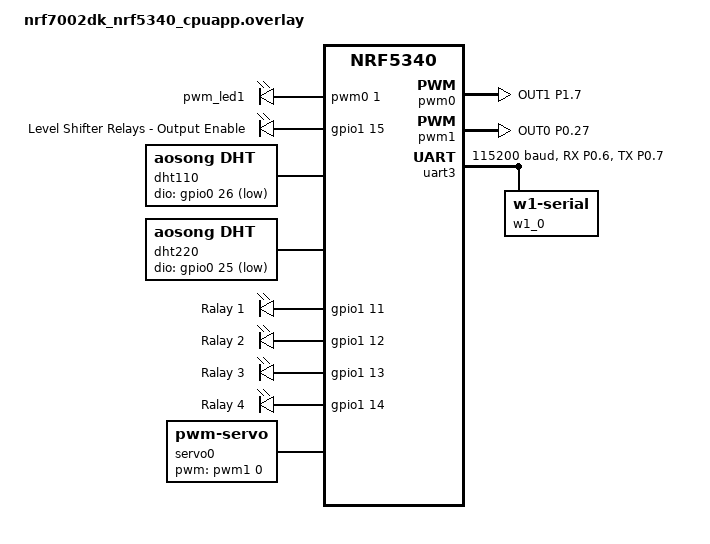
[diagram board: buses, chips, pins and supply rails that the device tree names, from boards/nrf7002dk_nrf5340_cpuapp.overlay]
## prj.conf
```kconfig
# nothing here
#CONFIG_NO_OPTIMIZATIONS=y # https://developer.nordicsemi.com/nRF_Connect_SDK/doc/latest/kconfig/index.html#CONFIG_COMPILER_OPTIMIZATIONS
CONFIG_PRINTK=y
CONFIG_GPIO=y
CONFIG_PWM=y
CONFIG_SENSOR=y
CONFIG_W1=y
```

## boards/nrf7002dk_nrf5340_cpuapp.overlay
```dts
/*
 *    Copyright (c) 2022 Project CHIP Authors
 *
 *    Licensed under the Apache License, Version 2.0 (the "License");
 *    you may not use this file except in compliance with the License.
 *    You may obtain a copy of the License at
 *
 *        http://www.apache.org/licenses/LICENSE-2.0
 *
 *    Unless required by applicable law or agreed to in writing, software
 *    distributed under the License is distributed on an "AS IS" BASIS,
 *    WITHOUT WARRANTIES OR CONDITIONS OF ANY KIND, either express or implied.
 *    See the License for the specific language governing permissions and
 *    limitations under the License.
 */

 / {
	chosen {
		nordic,pm-ext-flash = &mx25r64;
	};

	aliases {
		pwm-led1 = &pwm_led1;
		level-shifter1 = &level_shifter1;
		relay1 = &relay_1;
		relay2 = &relay_2;
		relay3 = &relay_3;
		relay4 = &relay_4;
		dht11 = &dht110;
		dht22 = &dht220;
		ds18b20 = &ds18b200;
		servo = &servo0;
	};

	/*
	* By default, PWM module is only configured for led0 (LED1 on the board).
	* The light bulb app, however, uses LED2 to show the state of the lighting,
	* including its brightness level.
	*/
	pwmleds {
		compatible = "pwm-leds";
		pwm_led1: pwm_led_1 {
			pwms = <&pwm0 1 PWM_MSEC(20) PWM_POLARITY_NORMAL>;
		};
	};

	level_shifters {
		compatible = "gpio-leds";
		level_shifter1: level_shifter_1 {
			status = "okay";
			gpios = <&gpio1 15 GPIO_ACTIVE_HIGH>;
			label = "Level Shifter Relays - Output Enable";
		};
	};

	dht110: dht11_0 {
		compatible = "aosong,dht";
		status = "okay";
		dio-gpios = <&gpio0 26 (GPIO_OPEN_DRAIN | GPIO_PULL_UP | GPIO_ACTIVE_LOW)>;
	};

	dht220: dht22_0 {
		compatible = "aosong,dht";
		status = "okay";
		dio-gpios = <&gpio0 25 (GPIO_OPEN_DRAIN | GPIO_PULL_UP | GPIO_ACTIVE_LOW)>;
		dht22;
	};

	relays {
	compatible = "gpio-leds";
		relay_1: relay_01 {
			status = "okay";
			gpios = <&gpio1 11 GPIO_ACTIVE_HIGH>;
			label = "Ralay 1";
		};
		relay_2: relay_02 {
			status = "okay";
			gpios = <&gpio1 12 GPIO_ACTIVE_HIGH>;
			label = "Ralay 2";
		};
		relay_3: relay_03 {
			status = "okay";
			gpios = <&gpio1 13 GPIO_ACTIVE_HIGH>;
			label = "Ralay 3";
		};
		relay_4: relay_04 {
			status = "okay";
			gpios = <&gpio1 14 GPIO_ACTIVE_HIGH>;
			label = "Ralay 4";
		};
	};

	servo0: servo_0 {
		compatible = "pwm-servo";
		pwms = <&pwm1 0 PWM_MSEC(20) PWM_POLARITY_NORMAL>;
		min-pulse = <PWM_USEC(1000)>;
		max-pulse = <PWM_USEC(1390)>;
	};
};

&pwm0 {
	pinctrl-0 = <&pwm0_default_alt>;
	pinctrl-1 = <&pwm0_sleep_alt>;
	pinctrl-names = "default", "sleep";
};

&pwm1 {
	status = "okay";
	pinctrl-0 = <&pwm1_default_alt>;
	pinctrl-1 = <&pwm1_sleep_alt>;
	pinctrl-names = "default", "sleep";
};

&uart3 {
	status = "okay";
	current-speed = <115200>;
	pinctrl-0 = <&uart3_default_alt>;
	pinctrl-1 = <&uart3_sleep_alt>;
	pinctrl-names = "default", "sleep";
	w1_0: w1-zephyr-serial-0 {
		compatible = "zephyr,w1-serial";
		status = "okay";
		ds18b200: ds18b20_0 {
			compatible = "maxim,ds18b20";
			family-code = <0x28>;
			resolution = <12>;
			status = "okay";
		};
	};
};

&pinctrl {
	pwm0_default_alt: pwm0_default_alt {
		group1 {
			psels = <NRF_PSEL(PWM_OUT1, 1, 7)>;
			nordic,invert;
		};
	};

	pwm0_sleep_alt: pwm0_sleep_alt {
		group1 {
			psels = <NRF_PSEL(PWM_OUT1, 1, 7)>;
			low-power-enable;
		};
	};

	pwm1_default_alt: pwm1_default_alt {
		group1 {
			psels = <NRF_PSEL(PWM_OUT0, 0, 27)>;
		};
	};

	pwm1_sleep_alt: pwm1_sleep_alt {
		group1 {
			psels = <NRF_PSEL(PWM_OUT0, 0, 27)>;
			low-power-enable;
		};
	};

	uart3_default_alt: uart3_default_alt {
		group1 {
			psels = <NRF_PSEL(UART_RX, 0, 6)>;
			bias-pull-up;
		};
		group2 {
			psels = <NRF_PSEL(UART_TX, 0, 7)>;
			nordic,drive-mode = <NRF_DRIVE_H0D1>;
		};
	};

	uart3_sleep_alt: uart3_sleep_alt {
		group1 {
			psels = <NRF_PSEL(UART_RX, 0, 6)>;
			low-power-enable;
		};
		group2 {
			psels = <NRF_PSEL(UART_TX, 0, 7)>;
			low-power-enable;
		};
	};
};
```

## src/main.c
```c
/*
 * Copyright (c) 2012-2014 Wind River Systems, Inc.
 *
 * SPDX-License-Identifier: Apache-2.0
 */

#include <zephyr/kernel.h>
#include <zephyr/sys/printk.h>
#include <zephyr/device.h>
#include <zephyr/devicetree.h>
#include <zephyr/drivers/gpio.h>
#include <zephyr/drivers/pwm.h>
#include <zephyr/drivers/sensor.h>
#include <stdio.h>

static const struct gpio_dt_spec level_shifter1 = GPIO_DT_SPEC_GET(DT_ALIAS(level_shifter1), gpios);

static const struct gpio_dt_spec relay1 = GPIO_DT_SPEC_GET(DT_ALIAS(relay1), gpios);
static const struct gpio_dt_spec relay2 = GPIO_DT_SPEC_GET(DT_ALIAS(relay2), gpios);
static const struct gpio_dt_spec relay3 = GPIO_DT_SPEC_GET(DT_ALIAS(relay3), gpios);
static const struct gpio_dt_spec relay4 = GPIO_DT_SPEC_GET(DT_ALIAS(relay4), gpios);

static const struct device *const dht11 = DEVICE_DT_GET(DT_ALIAS(dht11));
static const struct device *const dht22 = DEVICE_DT_GET(DT_ALIAS(dht22));
static const struct device *const ds18b20 = DEVICE_DT_GET(DT_ALIAS(ds18b20));

static const struct pwm_dt_spec servo = PWM_DT_SPEC_GET(DT_ALIAS(servo));
static const uint32_t min_pulse = DT_PROP(DT_ALIAS(servo), min_pulse);
static const uint32_t max_pulse = DT_PROP(DT_ALIAS(servo), max_pulse);

volatile uint32_t pulse_width;

int main(void)
{
	int ret;
	struct sensor_value dht11_temperature;
	struct sensor_value dht11_humidity;
	struct sensor_value dht22_temperature;
	struct sensor_value dht22_humidity;
	struct sensor_value ds18b20_temperature;

	pulse_width = (uint32_t)((max_pulse + min_pulse) / 2);
	printk("Pulse Width: %d\n", pulse_width);

    	///////////////////////////////////////////////////////////////////////////
	// VERIFY IF THE GPIO ATTACHED TO THE OE OF THE LEVEL SHIFTER IS READY
	ret = gpio_is_ready_dt(&level_shifter1);
	if (ret == 0) {
		printk("Error: level_shifter1 is not ready\n");
		return 0;
	}
	// CONFIGURE THE GPIO ATTACHED TO THE OE OF THE LEVEL SHIFTER AS A GPIO OUT 
  	// AND SET IT TO ACTIVE STATE
	ret = gpio_pin_configure_dt(&level_shifter1, GPIO_OUTPUT_ACTIVE);
	if (ret != 0) {
		printk("Error %d: failed to configure level shifter 1\n", ret);
		return 0;
	}
  	// SET THE GPIO ATTACHED TO THE OE OF THE LEVEL SHIFTER TO LOGIC LEVEL '1'
  	// (FOR DEBUG PURPOSES)
  	ret = gpio_pin_set_dt(&level_shifter1, 1);
	if (ret != 0) {
		printk("Error %d: failed to set level shifter 1 at logic level 1\n", ret);
		return 0;
	}


    	///////////////////////////////////////////////////////////////////////////
	// VERIFY IF THE GPIO ATTACHED TO THE RELAY IS READY
	ret = gpio_is_ready_dt(&relay1);
	if (ret == 0) {
		printk("Error: relay1 is not ready\n");
		return 0;
	}
	// CONFIGURE THE GPIO ATTACHED TO THE OE OF THE RELAY AS A GPIO OUT 
  	// AND SET IT TO ACTIVE STATE
	ret = gpio_pin_configure_dt(&relay1, GPIO_OUTPUT_HIGH);
	if (ret != 0) {
		printk("Error %d: failed to configure relay 1\n", ret);
		return 0;
	}

	// VERIFY IF THE GPIO ATTACHED TO THE RELAY IS READY
	ret = gpio_is_ready_dt(&relay2);
	if (ret == 0) {
		printk("Error: relay2 is not ready\n");
		return 0;
	}
	// CONFIGURE THE GPIO ATTACHED TO THE OE OF THE RELAY AS A GPIO OUT 
  	// AND SET IT TO ACTIVE STATE
	ret = gpio_pin_configure_dt(&relay2, GPIO_OUTPUT_HIGH);
	if (ret != 0) {
		printk("Error %d: failed to configure relay 2\n", ret);
		return 0;
	}

    	// VERIFY IF THE GPIO ATTACHED TO THE RELAY IS READY
	ret = gpio_is_ready_dt(&relay3);
	if (ret == 0) {
		printk("Error: relay3 is not ready\n");
		return 0;
	}
	// CONFIGURE THE GPIO ATTACHED TO THE OE OF THE RELAY AS A GPIO OUT 
  	// AND SET IT TO ACTIVE STATE
	ret = gpio_pin_configure_dt(&relay3, GPIO_OUTPUT_HIGH);
	if (ret != 0) {
		printk("Error %d: failed to configure relay 3\n", ret);
		return 0;
	}

	// VERIFY IF THE GPIO ATTACHED TO THE RELAY IS READY
	ret = gpio_is_ready_dt(&relay4);
	if (ret == 0) {
		printk("Error: relay4 is not ready\n");
		return 0;
	}
	// CONFIGURE THE GPIO ATTACHED TO THE OE OF THE RELAY AS A GPIO OUT 
  	// AND SET IT TO ACTIVE STATE
	ret = gpio_pin_configure_dt(&relay4, GPIO_OUTPUT_HIGH);
	if (ret != 0) {
		printk("Error %d: failed to configure relay 4\n", ret);
		return 0;
	}


  	// SET THE GPIO ATTACHED TO THE OE OF THE RELAY TO LOGIC LEVEL '1'
  	// (FOR DEBUG PURPOSES)
  	ret = gpio_pin_set_dt(&relay1, 0); // ON
	if (ret != 0) {
		printk("Error %d: failed to set relay 1 at logic level 1\n", ret);
		return 0;
	}
	k_sleep(K_MSEC(500));
	// SET THE GPIO ATTACHED TO THE OE OF THE RELAY TO LOGIC LEVEL '0'
  	// (FOR DEBUG PURPOSES)
  	ret = gpio_pin_set_dt(&relay1, 1); // OFF
	if (ret != 0) {
		printk("Error %d: failed to set relay 1 at logic level 0\n", ret);
		return 0;
	}

  	// SET THE GPIO ATTACHED TO THE OE OF THE RELAY TO LOGIC LEVEL '1'
  	// (FOR DEBUG PURPOSES)
  	ret = gpio_pin_set_dt(&relay2, 0); // ON
	if (ret != 0) {
		printk("Error %d: failed to set relay 2 at logic level 1\n", ret);
		return 0;
	}
	k_sleep(K_MSEC(500));
	// SET THE GPIO ATTACHED TO THE OE OF THE RELAY TO LOGIC LEVEL '0'
  	// (FOR DEBUG PURPOSES)
  	ret = gpio_pin_set_dt(&relay2, 1); // OFF
	if (ret != 0) {
		printk("Error %d: failed to set relay 2 at logic level 0\n", ret);
		return 0;
	}

  	// SET THE GPIO ATTACHED TO THE OE OF THE RELAY TO LOGIC LEVEL '1'
  	// (FOR DEBUG PURPOSES)
  	ret = gpio_pin_set_dt(&relay3, 0); // ON
	if (ret != 0) {
		printk("Error %d: failed to set relay 3 at logic level 1\n", ret);
		return 0;
	}
	k_sleep(K_MSEC(500));
	// SET THE GPIO ATTACHED TO THE OE OF THE RELAY TO LOGIC LEVEL '0'
  	// (FOR DEBUG PURPOSES)
  	ret = gpio_pin_set_dt(&relay3, 1); // OFF
	if (ret != 0) {
		printk("Error %d: failed to set relay 3 at logic level 0\n", ret);
		return 0;
	}

  	// SET THE GPIO ATTACHED TO THE OE OF THE RELAY TO LOGIC LEVEL '1'
  	// (FOR DEBUG PURPOSES)
  	ret = gpio_pin_set_dt(&relay4, 0); // ON
	if (ret != 0) {
		printk("Error %d: failed to set relay 4 at logic level 1\n", ret);
		return 0;
	}
	k_sleep(K_MSEC(500));
	// SET THE GPIO ATTACHED TO THE OE OF THE RELAY TO LOGIC LEVEL '0'
  	// (FOR DEBUG PURPOSES)
  	ret = gpio_pin_set_dt(&relay4, 1); // OFF
	if (ret != 0) {
		printk("Error %d: failed to set relay 4 at logic level 0\n", ret);
		return 0;
	}

    	///////////////////////////////////////////////////////////////////////////
	// VERIFY IF THE DHT11 SENSOR DEVICE IS READY
	ret = device_is_ready(dht11);
	if (ret == 0) {
		printk("Device %s is not ready\n", dht11->name);
		return 0;
	}
	k_sleep(K_MSEC(2000));
	// DO A FETCH OF THE DHT11 SENSOR DEVICE
	ret = sensor_sample_fetch(dht11);
	if (ret != 0) {
		printk("Sensor %s fetch failed: %d\n", dht11->name, ret);
		//return 0;
	} else {
		// GET THE TEMP AND HUMIDITY VALUES OBTAINED FROM THE FETCH
		ret = sensor_channel_get(dht11, SENSOR_CHAN_AMBIENT_TEMP, &dht11_temperature);
		if (ret == 0) {
			ret = sensor_channel_get(dht11, SENSOR_CHAN_HUMIDITY, &dht11_humidity);
		}
		if (ret != 0) {
			printk("get failed: %d\n", ret);
			return 0;
		}
		// PRINT THE READ TEMP AND HUMIDITY VALUES
		printk("temp: %d\n%d\n", dht11_temperature.val1, dht11_temperature.val2);
		printk("hum: %d\n%d\n", dht11_humidity.val1, dht11_humidity.val2);
	}

	
	// VERIFY IF THE DHT22 SENSOR DEVICE IS READY
	ret = device_is_ready(dht22);
	if (ret == 0) {
		printk("Device %s is not ready\n", dht22->name);
		return 0;
	}
	k_sleep(K_MSEC(2000));
	// DO A FETCH OF THE DHT22 SENSOR DEVICE
	ret = sensor_sample_fetch(dht22);
	if (ret != 0) {
		printk("Sensor %s fetch failed: %d\n",dht22->name, ret);
		//return 0;
	} else {
		// GET THE TEMP AND HUMIDITY VALUES OBTAINED FROM THE FETCH
		ret = sensor_channel_get(dht22, SENSOR_CHAN_AMBIENT_TEMP, &dht22_temperature);
		if (ret == 0) {
			ret = sensor_channel_get(dht22, SENSOR_CHAN_HUMIDITY, &dht22_humidity);
		}
		if (ret != 0) {
			printk("get failed: %d\n", ret);
			return 0;
		}
		// PRINT THE READ TEMP AND HUMIDITY VALUES
		printk("temp: %d\n%d\n", dht22_temperature.val1, dht22_temperature.val2);
		printk("hum: %d\n%d\n", dht22_humidity.val1, dht22_humidity.val2);
	}

	// VERIFY IF THE DS18B20 SENSOR DEVICE IS READY
	ret = device_is_ready(ds18b20);
	if (ret == 0) {
		printk("Device %s is not ready\n", ds18b20->name);
		return 0;
	}
	k_sleep(K_MSEC(2000));
	// DO A FETCH OF THE DS18B20 SENSOR DEVICE
	ret = sensor_sample_fetch(ds18b20);
	if (ret != 0) {
		printk("Sensor %s fetch failed: %d\n",ds18b20->name, ret);
		//return 0;
	} else {
		// GET THE TEMP VALUE OBTAINED FROM THE FETCH
		ret = sensor_channel_get(ds18b20, SENSOR_CHAN_AMBIENT_TEMP, &ds18b20_temperature);
		if (ret != 0) {
			printk("get failed: %d\n", ret);
			return 0;
		}
		// PRINT THE READ TEMP VALUES
		printk("temp: %d\n%d\n", ds18b20_temperature.val1, ds18b20_temperature.val2);
	}


	k_sleep(K_MSEC(1500));

    	///////////////////////////////////////////////////////////////////////////
	// VERIFY IF THE SERVO DEVICE IS READY
	ret = device_is_ready(servo.dev);
	if (ret == 0) {
		printk("Error: PWM device %s is not ready\n", servo.dev->name);
		return 0;
	}
	// SET THE SERVO PULSE PARAMETER ACCORDINGLY TO THE OVERLAY DEFINITION
	ret = pwm_set_pulse_dt(&servo, pulse_width);
	if (ret != 0) {
		printk("Error %d: failed to set pulse width\n", ret);
		return 0;
	}
	k_sleep(K_SECONDS(3));
	// SET THE SERVO PULSE PARAMETER ACCORDINGLY TO THE OVERLAY DEFINITION
	ret = pwm_set_pulse_dt(&servo, 0);
	if (ret != 0) {
		printk("Error %d: failed to set pulse width\n", ret);
		return 0;
	}

	while (1) {
		k_sleep(K_SECONDS(1));
	}

	return 0;
}
```
